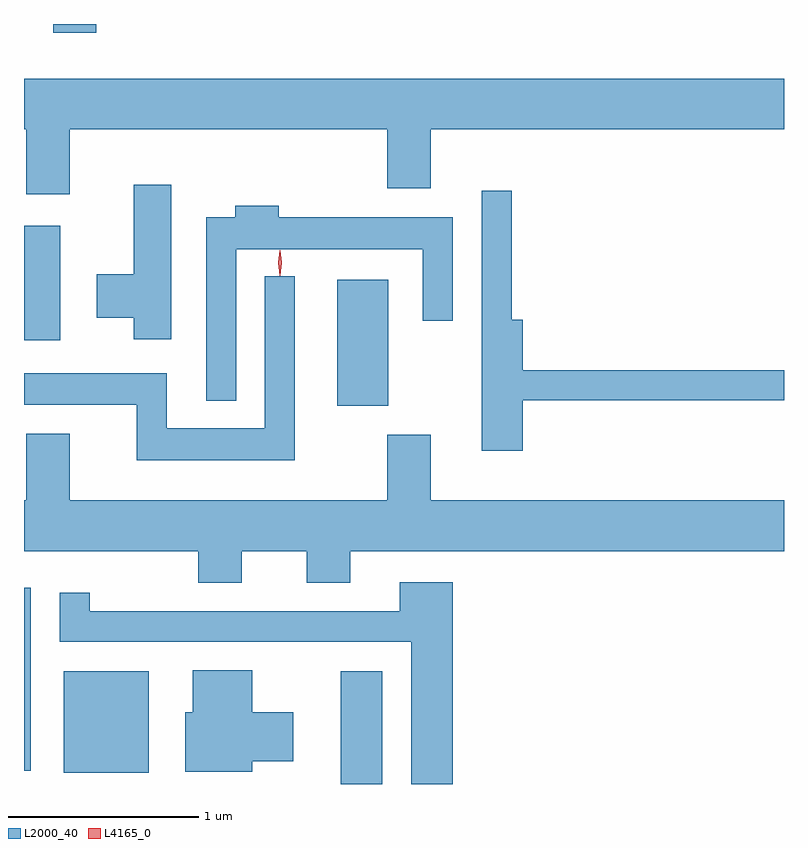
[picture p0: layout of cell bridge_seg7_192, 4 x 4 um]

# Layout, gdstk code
import gdstk
lib = gdstk.Library(unit=1e-6, precision=1e-09)
def R(c, l, rs):  # rectangles x0, y0, x1, y1
    for r in rs: c.add(gdstk.rectangle(r[:2], r[2:], *l))
def P(c, l, *ps):  # polygons
    for p in ps: c.add(gdstk.Polygon(p, *l))
L2000_40 = (2000, 40)
L4165_0 = (4165, 0)

bridge_seg7_192 = lib.new_cell('bridge_seg7_192')
R(bridge_seg7_192, L2000_40, [(1564.666,1699.771,1564.884,1700.364), (1563.206,1699.831,1563.654,1700.364), (1562.998,1699.841,1563.034,1700.804), (1564.646,1701.761,1564.914,1702.424), (1562.998,1702.106,1563.189,1702.709), (1563.151,1703.726,1563.379,1703.771)])
P(bridge_seg7_192, L2000_40, [(1563.239,1703.216),(1564.911,1703.216),(1564.911,1702.906),(1565.139,1702.906),(1565.139,1703.216),(1566.998,1703.216),(1566.998,1703.484),(1562.998,1703.484),(1562.998,1703.216),(1563.011,1703.216),(1563.011,1702.876),(1563.239,1702.876)],
  [(1563.774,1702.924),(1563.576,1702.924),(1563.576,1702.454),(1563.381,1702.454),(1563.381,1702.226),(1563.576,1702.226),(1563.576,1702.111),(1563.774,1702.111)],
  [(1565.624,1701.791),(1566.998,1701.791),(1566.998,1701.949),(1565.624,1701.949),(1565.624,1702.214),(1565.564,1702.214),(1565.564,1702.893),(1565.406,1702.893),(1565.406,1701.526),(1565.624,1701.526)],
  [(1564.114,1702.586),(1565.096,1702.586),(1565.096,1702.208),(1565.254,1702.208),(1565.254,1702.754),(1564.339,1702.754),(1564.339,1702.814),(1564.111,1702.814),(1564.111,1702.754),(1563.956,1702.754),(1563.956,1701.788),(1564.114,1701.788)],
  [(1564.424,1702.443),(1564.266,1702.443),(1564.266,1701.644),(1563.749,1701.644),(1563.749,1701.934),(1562.998,1701.934),(1562.998,1701.766),(1563.591,1701.766),(1563.591,1701.476),(1564.424,1701.476)],
  [(1564.144,1700.996),(1564.486,1700.996),(1564.486,1700.831),(1564.714,1700.831),(1564.714,1700.996),(1566.998,1700.996),(1566.998,1701.264),(1565.139,1701.264),(1565.139,1701.609),(1564.911,1701.609),(1564.911,1701.264),(1563.239,1701.264),(1563.239,1701.614),(1563.011,1701.614),(1563.011,1701.264),(1562.998,1701.264),(1562.998,1700.996),(1563.916,1700.996),(1563.916,1700.831),(1564.144,1700.831)],
  [(1565.254,1700.834),(1564.976,1700.834),(1564.976,1700.679),(1563.344,1700.679),(1563.344,1700.778),(1563.186,1700.778),(1563.186,1700.521),(1565.036,1700.521),(1565.036,1699.771),(1565.254,1699.771)],
  [(1564.199,1699.891),(1564.414,1699.891),(1564.414,1700.149),(1564.199,1700.149),(1564.199,1700.369),(1563.886,1700.369),(1563.886,1700.149),(1563.846,1700.149),(1563.846,1699.836),(1564.199,1699.836)])
P(bridge_seg7_192, L4165_0, [(1564.344,1702.447),(1564.335,1702.514),(1564.344,1702.58),(1564.345,1702.581),(1564.346,1702.58),(1564.355,1702.514),(1564.346,1702.447),(1564.345,1702.447)])

lib.write_gds('bridge_seg7_192.gds')
